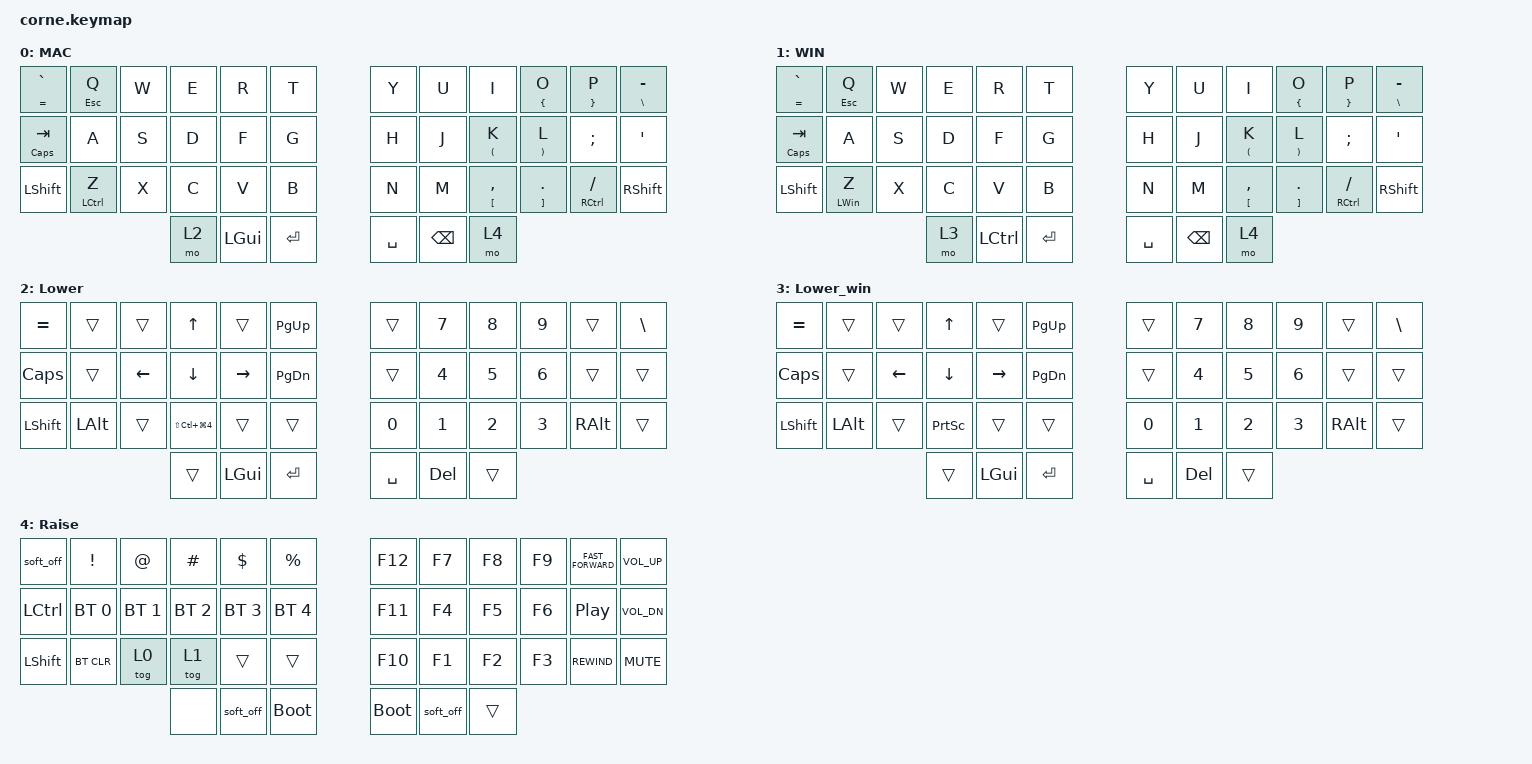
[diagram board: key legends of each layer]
/*
* Copyright (c) 2020 The ZMK Contributors
*
* SPDX-License-Identifier: MIT
*/

#include <behaviors.dtsi>
#include <dt-bindings/zmk/bt.h>
#include <dt-bindings/zmk/keys.h>

&mt { flavor = "tap-preferred"; };

&soft_off { hold-time-ms = <2000>; };

/ {
    macros {
        mac_snap: mac_snap {
            compatible = "zmk,behavior-macro";
            #binding-cells = <0>;
            bindings = <&kp LG(LS(LC(NUMBER_4)))>;
            label = "MAC_SNAP";
            tap-ms = <0>;
        };
    };

    keymap {
        compatible = "zmk,keymap";

        Mac {
            // -----------------------------------------------------------------------------------------
            // | GRAVE  |  Q  |  W  |  E  |  R  |  T  |   |  Y  |  U   |  I  |  O  |  P  | - |
            // | TAB    |  A  |  S  |  D  |  F  |  G  |   |  H  |  J   |  K  |  L  |  ;  |  '   |
            // | SHFT   |  Z  |  X  |  C  |  V  |  B  |   |  N  |  M   |  ,  |  .  |  /  | SHFT  |
            //                      | LWR | GUI | ENT |   | SPC | BSPC | RSE |

            label = "MAC";
            bindings = <
&mt EQUAL GRAVE  &mt ESC Q    &kp W  &kp E  &kp R     &kp T      &kp Y      &kp U     &kp I           &mt LBRC O                &mt RBRC P      &mt BSLH MINUS
&mt CAPS TAB     &kp A        &kp S  &kp D  &kp F     &kp G      &kp H      &kp J     &mt LPAR K      &mt RPAR L                &kp SEMI        &kp SQT
&kp LSHFT        &mt LCTRL Z  &kp X  &kp C  &kp V     &kp B      &kp N      &kp M     &mt LBKT COMMA  &mt RIGHT_BRACKET PERIOD  &mt RCTRL FSLH  &kp RSHFT
                                     &mo 2  &kp LGUI  &kp RET    &kp SPACE  &kp BSPC  &mo 4
            >;
        };

        Windows {
            label = "WIN";
            bindings = <
&mt EQUAL GRAVE  &mt ESC Q       &kp W  &kp E  &kp R      &kp T      &kp Y      &kp U     &kp I           &mt LBRC O                &mt RBRC P      &mt BSLH MINUS
&mt CAPS TAB     &kp A           &kp S  &kp D  &kp F      &kp G      &kp H      &kp J     &mt LPAR K      &mt RPAR L                &kp SEMI        &kp SQT
&kp LSHFT        &mt LEFT_WIN Z  &kp X  &kp C  &kp V      &kp B      &kp N      &kp M     &mt LBKT COMMA  &mt RIGHT_BRACKET PERIOD  &mt RCTRL FSLH  &kp RSHFT
                                        &mo 3  &kp LCTRL  &kp RET    &kp SPACE  &kp BSPC  &mo 4
            >;
        };

        lower_mac {
            // -----------------------------------------------------------------------------------------
            // | EQUAL|     |     |     |     |     |   |     |  7  |  8  |  9  |     |  \   |
            // | CAPS | BT1 | BT2 | BT3 | BT4 | BT5 |   |     |  4  |  5  |  6  |     |      |
            // | SHFT |     |     |     |     |     |   |  0  |  1  |  2  |  3  |     |      |
            //                    |     | GUI | ENT |   | SPC | DEL |     |

            label = "Lower";
            bindings = <
&kp EQUAL  &trans        &trans          &kp UP_ARROW              &trans           &kp PG_UP    &trans     &kp N7   &kp N8  &kp N9  &trans         &kp BSLH
&kp CAPS   &trans        &kp LEFT_ARROW  &kp DOWN_ARROW            &kp RIGHT_ARROW  &kp PG_DN    &trans     &kp N4   &kp N5  &kp N6  &trans         &trans
&kp LSHFT  &kp LEFT_ALT  &trans          &kp LS(LC(LG(NUMBER_4)))  &trans           &trans       &kp N0     &kp N1   &kp N2  &kp N3  &kp RIGHT_ALT  &trans
                                         &trans                    &kp LGUI         &kp RET      &kp SPACE  &kp DEL  &trans
            >;
        };

        lower_win {
            label = "Lower_win";
            bindings = <
&kp EQUAL  &trans        &trans          &kp UP_ARROW     &trans           &kp PG_UP    &trans     &kp N7   &kp N8  &kp N9  &trans         &kp BSLH
&kp CAPS   &trans        &kp LEFT_ARROW  &kp DOWN_ARROW   &kp RIGHT_ARROW  &kp PG_DN    &trans     &kp N4   &kp N5  &kp N6  &trans         &trans
&kp LSHFT  &kp LEFT_ALT  &trans          &kp PRINTSCREEN  &trans           &trans       &kp N0     &kp N1   &kp N2  &kp N3  &kp RIGHT_ALT  &trans
                                         &trans           &kp LGUI         &kp RET      &kp SPACE  &kp DEL  &trans
            >;
        };

        raise_layer {
            // -----------------------------------------------------------------------------------------
            // |  TAB |  !  |  @  |  #  |  $  |  %  |   |  ^  |  F7  |  F8  |  F9  |  F10  | BKSP |
            // | CTRL |     |     |     |     |     |   |  -  |  F4  |  F5  |  F6  |  F11  |  `   |
            // | SHFT |     |     |     |     |     |   |  _  |  F1  |  F2  |  F3  |  F12  |  ~   |
            //                    | GUI |     | SPC |   | ENT |     | ALT |

            label = "Raise";
            bindings = <
&soft_off  &kp EXCL      &kp AT        &kp HASH      &kp DLLR      &kp PRCNT       &kp F12      &kp F7     &kp F8  &kp F9  &kp C_FAST_FORWARD  &kp C_VOLUME_UP
&kp LCTRL  &bt BT_SEL 0  &bt BT_SEL 1  &bt BT_SEL 2  &bt BT_SEL 3  &bt BT_SEL 4    &kp F11      &kp F4     &kp F5  &kp F6  &kp C_PLAY_PAUSE    &kp C_VOL_DN
&kp LSHFT  &bt BT_CLR    &tog 0        &tog 1        &trans        &trans          &kp F10      &kp F1     &kp F2  &kp F3  &kp C_REWIND        &kp K_MUTE
                                       &none         &soft_off     &bootloader     &bootloader  &soft_off  &trans
            >;
        };
    };
};
